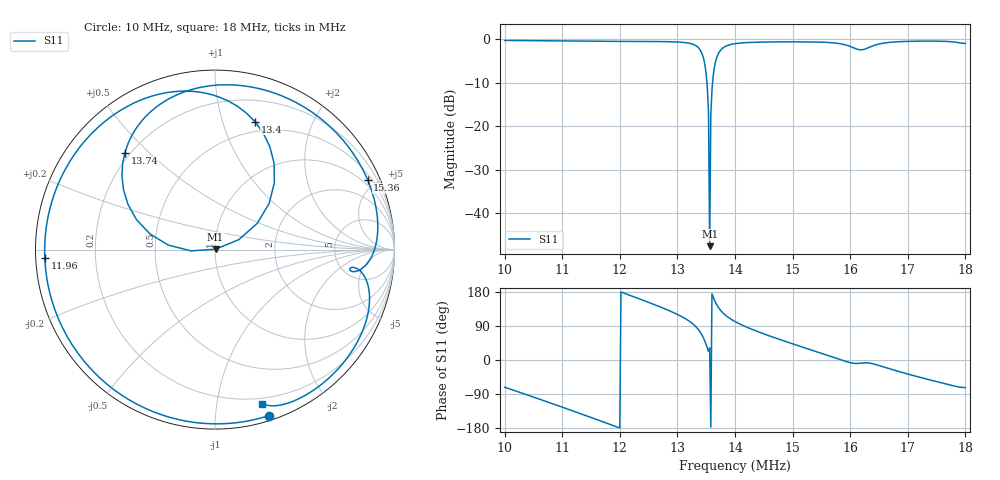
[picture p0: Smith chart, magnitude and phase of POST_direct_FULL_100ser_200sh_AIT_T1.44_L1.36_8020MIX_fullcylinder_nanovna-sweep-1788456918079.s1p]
! NanoVNA Web complex sweep
! Processing: original sample grid, no browser smoothing
# Hz S RI R 50
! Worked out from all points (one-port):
!   401 points, 10 MHz to 18 MHz, reference 50 ohm
!   lowest |S11| = -47.7 dB at 13.56 MHz (marker M1), VSWR 1.01, Z = 50.4 + j0.22 ohm
!   |S11| at or under -10 dB: 13.51 MHz to 13.61 MHz (97.95 kHz wide, 0.722 % of centre)
!   S11 on the Smith chart (normalised r, x): 10 MHz: 0.04, -1.38; 11.96 MHz: 0.03, -0.02; 13.4 MHz: 0.40, +1.28; 13.74 MHz: 0.18, +0.42; 15.36 MHz: 0.73, +4.48; 18 MHz: 0.15, -1.34
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1e7  0.3033 -0.9244
1.05e7  -0.1308 -0.9605
1.1e7  -0.5437 -0.7947
1.15e7  -0.84 -0.4539
1.196e7  -0.9483 -0.0475
1.2e7  -0.9492 -0.0103
1.252e7  -0.8273 0.4596
1.3e7  -0.471 0.8069
1.326e7  -0.098 0.8791
1.34e7  0.2224 0.7134
1.348e7  0.3309 0.3732
1.35e7  0.3019 0.2578
1.352e7  0.2356 0.1463
1.356e7  0.00352 0.00219
1.36e7  -0.2604 0.0251
1.362e7  -0.3632 0.0879
1.364e7  -0.4377 0.1674
1.374e7  -0.5022 0.5399
1.386e7  -0.3595 0.7674
1.4e7  -0.1781 0.8761
1.442e7  0.2637 0.8927
1.5e7  0.69 0.6358
1.536e7  0.8501 0.3886
1.6e7  0.8235 -0.1001
1.636e7  0.8166 -0.1269
1.7e7  0.7582 -0.5726
1.758e7  0.4749 -0.8269
1.8e7  0.2642 -0.858
